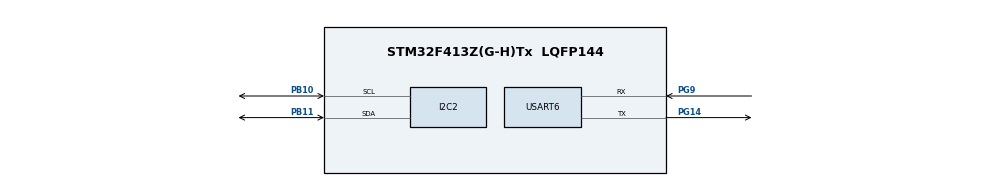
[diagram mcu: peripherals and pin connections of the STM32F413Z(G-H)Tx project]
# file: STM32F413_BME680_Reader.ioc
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Mcu.Family=STM32F4
Mcu.Name=STM32F413Z(G-H)Tx
Mcu.Package=LQFP144
NVIC.PriorityGroup=NVIC_PRIORITYGROUP_4
PB10.Mode=I2C
PB10.Signal=I2C2_SCL
PB11.Mode=I2C
PB11.Signal=I2C2_SDA
PG14.Mode=Asynchronous
PG14.Signal=USART6_TX
PG9.Mode=Asynchronous
PG9.Signal=USART6_RX
ProjectManager.HeapSize=0x200
ProjectManager.StackSize=0x400
ProjectManager.TargetToolchain=STM32CubeIDE
RCC.CortexFreq_Value=16000000
RCC.USBFreq_Value=96000000
RCC.VCOOutputFreq_Value=192000000
USART6.VirtualMode=VM_ASYNC
board=custom

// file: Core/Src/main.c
/* USER CODE BEGIN Header */
/**
 ******************************************************************************
 * @file           : main.c
 * @brief          : Main program body
 ******************************************************************************
 * @attention
 *
 * Copyright (c) 2025 STMicroelectronics.
 * All rights reserved.
 *
 * This software is licensed under terms that can be found in the LICENSE file
 * in the root directory of this software component.
 * If no LICENSE file comes with this software, it is provided AS-IS.
 *
 ******************************************************************************
 */
/* USER CODE END Header */
#include "main.h"

/* USER CODE BEGIN Includes */
#include <string.h>
#include <stdio.h>
#include "bme68x.h"

/* USER CODE END Includes */

I2C_HandleTypeDef hi2c2;

UART_HandleTypeDef huart6;

/* USER CODE BEGIN PV */
I2C_HandleTypeDef hi2c2;   // I2C2 handler
UART_HandleTypeDef huart6; // UART6 handler

/* USER CODE END PV */

void SystemClock_Config(void);
static void MX_GPIO_Init(void);
static void MX_I2C2_Init(void);
static void MX_USART6_UART_Init(void);
/* USER CODE BEGIN PFP */
void I2C_Scan(I2C_HandleTypeDef *hi2c);
int8_t bme68x_i2c_read(uint8_t reg_addr, uint8_t *reg_data, uint32_t len, void *intf_ptr);
int8_t bme68x_i2c_write(uint8_t reg_addr, const uint8_t *reg_data, uint32_t len, void *intf_ptr);
void bme68x_delay_us(uint32_t period_us, void *intf_ptr);

/* USER CODE END PFP */

int main(void)
{

  /* MCU Configuration--------------------------------------------------------*/

  /* Reset of all peripherals, Initializes the Flash interface and the Systick. */
  HAL_Init();

  /* Configure the system clock */
  SystemClock_Config();

  /* Initialize all configured peripherals */
  MX_GPIO_Init();
  MX_I2C2_Init();
  MX_USART6_UART_Init();

  /* USER CODE BEGIN 2 */
  uint8_t chip_id = 0;
  HAL_StatusTypeDef status;

  status = HAL_I2C_Mem_Read(&hi2c2, (BME68X_I2C_ADDR_HIGH << 1), 0xD0, I2C_MEMADD_SIZE_8BIT, &chip_id, 1, HAL_MAX_DELAY);

  if (status == HAL_OK)
  {
    char msg[50];
    sprintf(msg, "BME680 Chip ID: 0x%02X\r\n", chip_id);
    HAL_UART_Transmit(&huart6, (uint8_t *)msg, strlen(msg), HAL_MAX_DELAY);
  }
  else
  {
    char error_msg[] = "Failed to read Chip ID\r\n";
    HAL_UART_Transmit(&huart6, (uint8_t *)error_msg, strlen(error_msg), HAL_MAX_DELAY);
  }

  I2C_Scan(&hi2c2);

  struct bme68x_dev bme680;
  int8_t result;
  struct bme68x_conf conf;
  struct bme68x_heatr_conf heatr_conf;

  uint8_t dev_addr = BME68X_I2C_ADDR_HIGH; // Use 0x77
  bme680.chip_id = BME68X_CHIP_ID;         // Set to 0x61
  bme680.intf_ptr = &dev_addr;             // Pass I2C address via intf_ptr
  bme680.intf = BME68X_I2C_INTF;
  bme680.read = bme68x_i2c_read;
  bme680.write = bme68x_i2c_write;
  bme680.delay_us = bme68x_delay_us;

  result = bme68x_init(&bme680);

  HAL_Delay(1000);  // remove ??
  // Initialize the sensor
  if (result != BME68X_OK)
  {
    char error_msg[] = "BME680 Initialization Failed\r\n";
    HAL_UART_Transmit(&huart6, (uint8_t *)error_msg, strlen(error_msg), HAL_MAX_DELAY);
    while (1)
      ; // Halt on failure
  }

  conf.filter = BME68X_FILTER_OFF;
  // conf.odr = BME68X_ODR_NONE;  // verify data sheet
  conf.os_hum = BME68X_OS_16X;
  conf.os_temp = BME68X_OS_2X;
  conf.os_pres = BME68X_OS_1X;

  result = bme68x_set_conf(&conf, &bme680);
  if (result != BME68X_OK)
  {
    char error_msg[] = "BME680 Config Failed\r\n";
    HAL_UART_Transmit(&huart6, (uint8_t *)error_msg, strlen(error_msg), HAL_MAX_DELAY);
    while (1)
      ; // Halt on failure
  }

  heatr_conf.enable = BME68X_ENABLE;
  heatr_conf.heatr_temp = 300; // 300C !!!!! (for VOC need to read)
  heatr_conf.heatr_dur = 100;  // 100ms

  //  Keeing heater off since not using VOC
  //  if (bme68x_set_heatr_conf(BME68X_FORCED_MODE, &heatr_conf, &bme680) != BME68X_OK) {
  //      char error_msg[] = "BME680 HEater Config Failed\r\n";
  //      HAL_UART_Transmit(&huart6, (uint8_t *)error_msg, strlen(error_msg), HAL_MAX_DELAY);
  //      while (1); // Halt on failure
  //  }

  float temp_offset = 0.0;
  float hum_offset = 0.0;
  struct bme68x_data data;
  uint32_t del_period;
  uint8_t n_fields;

  /* USER CODE END 2 */

  /* Infinite loop */
  while (1)
  {

    /* USER CODE BEGIN 3 */

    // Trigger measurement in forced mode
    if (bme68x_set_op_mode(BME68X_FORCED_MODE, &bme680) != BME68X_OK) {
        HAL_UART_Transmit(&huart6, (uint8_t *)"Set op mode failed\r\n", 20, HAL_MAX_DELAY);
        continue;
    }

    // Calculate delay period if heater is enabled.  Library will be added to process data later.
    del_period = bme68x_get_meas_dur(BME68X_FORCED_MODE, &conf, &bme680) + (heatr_conf.heatr_dur * 1000);
    HAL_Delay(del_period / 1000); // Wait for measurement

    // Read data
    if (bme68x_get_data(BME68X_FORCED_MODE, &data, &n_fields, &bme680) == BME68X_OK) {
        float temperature = (data.temperature) + temp_offset;
        float temp_f = (temperature * 9.0f / 5.0f) + 32.0f;
        float humidity = (data.humidity) + hum_offset;
        float gas_resistance = data.gas_resistance / 1000.0f; // Convert to kOhm

        char uart_buffer[150];
        sprintf(uart_buffer, "Temp: %.2f C (%.2f F) | Hum: %.2f %% | Press: %.2f hPa | Gas: %.2f kOhm\r\n",
                        temperature, temp_f, humidity, data.pressure / 100.0f, gas_resistance);
        HAL_UART_Transmit(&huart6, (uint8_t *)uart_buffer, strlen(uart_buffer), HAL_MAX_DELAY);
    }

    HAL_Delay(2000);

  }
  /* USER CODE END 3 */
}

void SystemClock_Config(void)
{
  RCC_OscInitTypeDef RCC_OscInitStruct = {0};
  RCC_ClkInitTypeDef RCC_ClkInitStruct = {0};

  /** Configure the main internal regulator output voltage
   */
  __HAL_RCC_PWR_CLK_ENABLE();
  __HAL_PWR_VOLTAGESCALING_CONFIG(PWR_REGULATOR_VOLTAGE_SCALE1);

  /** Initializes the RCC Oscillators according to the specified parameters
   * in the RCC_OscInitTypeDef structure.
   */
  RCC_OscInitStruct.OscillatorType = RCC_OSCILLATORTYPE_HSI;
  RCC_OscInitStruct.HSIState = RCC_HSI_ON;
  RCC_OscInitStruct.HSICalibrationValue = RCC_HSICALIBRATION_DEFAULT;
  RCC_OscInitStruct.PLL.PLLState = RCC_PLL_NONE;
  if (HAL_RCC_OscConfig(&RCC_OscInitStruct) != HAL_OK)
  {
    Error_Handler();
  }

  /** Initializes the CPU, AHB and APB buses clocks
   */
  RCC_ClkInitStruct.ClockType = RCC_CLOCKTYPE_HCLK | RCC_CLOCKTYPE_SYSCLK | RCC_CLOCKTYPE_PCLK1 | RCC_CLOCKTYPE_PCLK2;
  RCC_ClkInitStruct.SYSCLKSource = RCC_SYSCLKSOURCE_HSI;
  RCC_ClkInitStruct.AHBCLKDivider = RCC_SYSCLK_DIV1;
  RCC_ClkInitStruct.APB1CLKDivider = RCC_HCLK_DIV1;
  RCC_ClkInitStruct.APB2CLKDivider = RCC_HCLK_DIV1;

  if (HAL_RCC_ClockConfig(&RCC_ClkInitStruct, FLASH_LATENCY_0) != HAL_OK)
  {
    Error_Handler();
  }
}

static void MX_I2C2_Init(void)
{

  hi2c2.Instance = I2C2;
  hi2c2.Init.ClockSpeed = 100000;
  hi2c2.Init.DutyCycle = I2C_DUTYCYCLE_2;
  hi2c2.Init.OwnAddress1 = 0;
  hi2c2.Init.AddressingMode = I2C_ADDRESSINGMODE_7BIT;
  hi2c2.Init.DualAddressMode = I2C_DUALADDRESS_DISABLE;
  hi2c2.Init.OwnAddress2 = 0;
  hi2c2.Init.GeneralCallMode = I2C_GENERALCALL_DISABLE;
  hi2c2.Init.NoStretchMode = I2C_NOSTRETCH_DISABLE;
  if (HAL_I2C_Init(&hi2c2) != HAL_OK)
  {
    Error_Handler();
  }
}

static void MX_USART6_UART_Init(void)
{

  huart6.Instance = USART6;
  huart6.Init.BaudRate = 115200;
  huart6.Init.WordLength = UART_WORDLENGTH_8B;
  huart6.Init.StopBits = UART_STOPBITS_1;
  huart6.Init.Parity = UART_PARITY_NONE;
  huart6.Init.Mode = UART_MODE_TX_RX;
  huart6.Init.HwFlowCtl = UART_HWCONTROL_NONE;
  huart6.Init.OverSampling = UART_OVERSAMPLING_16;
  if (HAL_UART_Init(&huart6) != HAL_OK)
  {
    Error_Handler();
  }
}

static void MX_GPIO_Init(void)
{

  /* GPIO Ports Clock Enable */
  __HAL_RCC_GPIOB_CLK_ENABLE();
  __HAL_RCC_GPIOG_CLK_ENABLE();

}

/* USER CODE BEGIN 4 */
int8_t bme68x_i2c_read(uint8_t reg_addr, uint8_t *reg_data, uint32_t len, void *intf_ptr) {
	uint8_t dev_addr = *(uint8_t *)intf_ptr;
    HAL_StatusTypeDef status = HAL_I2C_Mem_Read(&hi2c2, (uint16_t)(dev_addr << 1), reg_addr,
                                                I2C_MEMADD_SIZE_8BIT, reg_data, len, HAL_MAX_DELAY);
    return (status == HAL_OK) ? 0 : -1;
}

int8_t bme68x_i2c_write(uint8_t reg_addr, const uint8_t *reg_data, uint32_t len, void *intf_ptr) {
	uint8_t dev_addr = *(uint8_t *)intf_ptr;
    HAL_StatusTypeDef status = HAL_I2C_Mem_Write(&hi2c2, (uint16_t)(dev_addr << 1), reg_addr,
                                                 I2C_MEMADD_SIZE_8BIT, (uint8_t *)reg_data, len,
                                                 HAL_MAX_DELAY);
    return (status == HAL_OK) ? 0 : -1;
}

void bme68x_delay_us(uint32_t period_us, void *intf_ptr) {
    HAL_Delay(period_us / 1000); // Convert microseconds to milliseconds
}

void I2C_Scan(I2C_HandleTypeDef *hi2c) {
  char uart_buffer[50];
  HAL_UART_Transmit(&huart6, (uint8_t *)"Scanning I2C bus...\r\n", strlen("Scanning I2C bus...\r\n"), HAL_MAX_DELAY);

  for (uint16_t i = 0; i < 128; i++) {
      if (HAL_I2C_IsDeviceReady(hi2c, (uint16_t)(i << 1), 1, 10) == HAL_OK) {
          sprintf(uart_buffer, "Device found at 0x%02X\r\n", i);
          HAL_UART_Transmit(&huart6, (uint8_t *)uart_buffer, strlen(uart_buffer), HAL_MAX_DELAY);
      }
  }

  HAL_UART_Transmit(&huart6, (uint8_t *)"I2C scan complete.\r\n", strlen("I2C scan complete.\r\n"), HAL_MAX_DELAY);
}

/* USER CODE END 4 */

void Error_Handler(void)
{
  __disable_irq();
  while (1)
  {
  }
}
